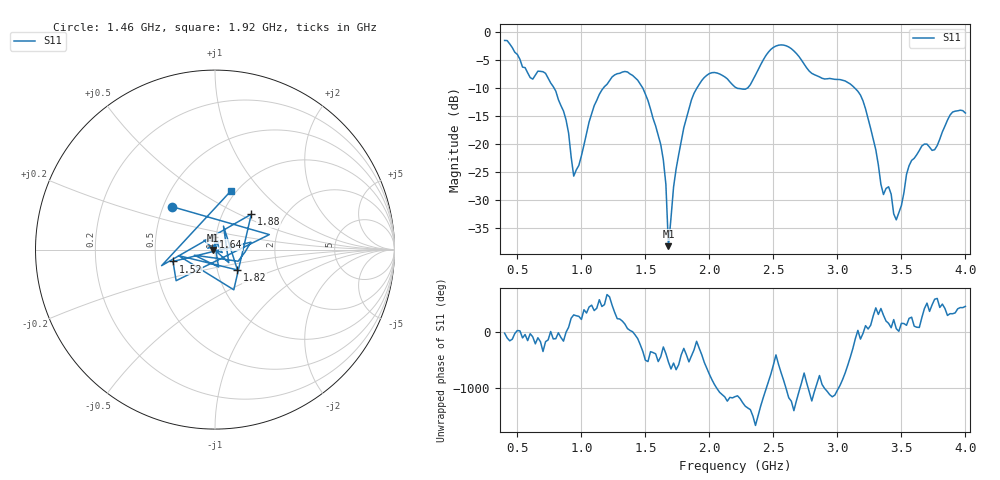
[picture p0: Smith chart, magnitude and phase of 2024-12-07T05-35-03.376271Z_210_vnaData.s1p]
!Created with skrf (http://scikit-rf.org).
# Hz S RI R 50.0
!freq ReS11 ImS11
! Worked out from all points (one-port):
!   181 points, 400 MHz to 4 GHz, reference 50 ohm
!   lowest |S11| = -38.2 dB at 1.68 GHz (marker M1), VSWR 1.02, Z = 48.8 - j0.144 ohm
!   |S11| at or under -10 dB: 785.1 MHz to 1.173 GHz (388.3 MHz wide, 39.7 % of centre); 1.478 GHz to 1.904 GHz (425.7 MHz wide, 25.2 % of centre); 3.133 GHz to end of sweep (the widest 3 of 4)
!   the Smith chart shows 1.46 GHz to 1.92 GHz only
!   S11 on the Smith chart (normalised r, x): 1.46 GHz: 0.55, +0.30; 1.52 GHz: 0.62, -0.09; 1.64 GHz: 0.98, +0.14; 1.82 GHz: 1.25, -0.29; 1.88 GHz: 1.36, +0.58; 1.92 GHz: 0.94, +0.70
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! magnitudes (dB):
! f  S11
! 400 MHz  -1.6
! 600 MHz  -8.2
! 720 MHz  -7.4
! 860 MHz  -14.1
! 940 MHz  -25.7
! 1.1 GHz  -13.2
! 1.3 GHz  -7.4
! 1.46 GHz  -9.3
! 1.52 GHz  -12.3
! 1.64 GHz  -22.8
! 1.66 GHz  -27.2
! 1.68 GHz  -38.2
! 1.72 GHz  -27.7
! 1.76 GHz  -21.9
! 1.82 GHz  -15.4
! 1.88 GHz  -11.0
! 1.92 GHz  -9.4
! 2.2 GHz  -9.9
! 2.3 GHz  -10.0
! 2.5 GHz  -2.8
! 2.66 GHz  -3.4
! 3.1 GHz  -9.3
! 3.2 GHz  -12.3
! 3.36 GHz  -29.0
! 3.4 GHz  -27.6
! 3.46 GHz  -33.5
! 3.56 GHz  -23.9
! 4 GHz  -14.5
